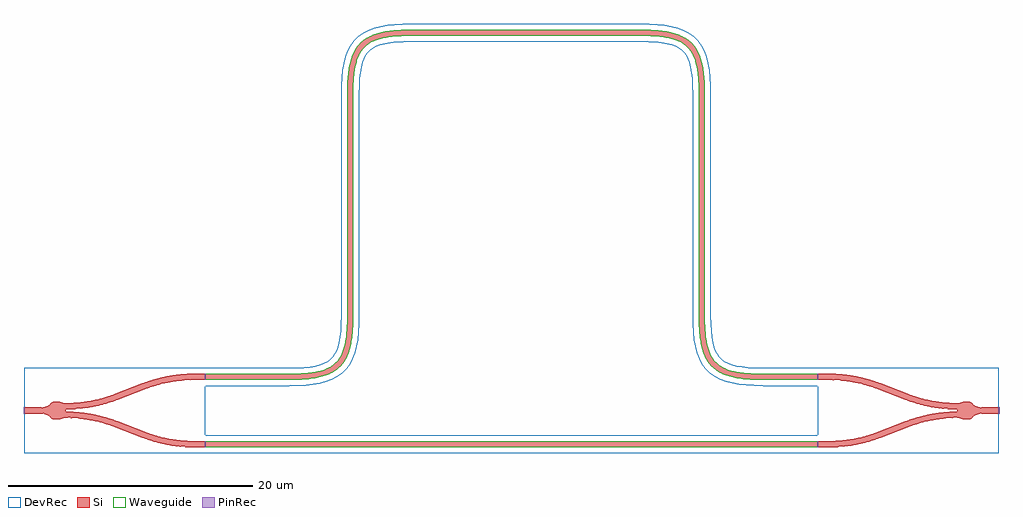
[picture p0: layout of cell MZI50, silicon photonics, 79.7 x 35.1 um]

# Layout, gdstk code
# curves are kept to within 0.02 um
from math import pi, radians
import gdstk
lib = gdstk.Library(unit=1e-6, precision=1e-09)
def R(c, l, rs):  # rectangles x0, y0, x1, y1
    for r in rs: c.add(gdstk.rectangle(r[:2], r[2:], *l))
def P(c, l, *ps):  # polygons
    for p in ps: c.add(gdstk.Polygon(p, *l))
Si = (1, 0)
PinRec = (1, 10)
Waveguide = (1, 99)
DevRec = (68, 0)

waveguide = lib.new_cell('Waveguide')
R(waveguide, Si, [(8.91,-1.04,58.91,-0.54)])
R(waveguide, Waveguide, [(8.91,-1.04,58.91,-0.54)])
R(waveguide, DevRec, [(8.91,-1.54,58.91,-0.04)])
waveguide.add(gdstk.FlexPath([(8.92,-0.79),(8.9,-0.79)], 0.5, ends="flush", simple_path=True, layer=1, datatype=10))  # PinRec
waveguide.add(gdstk.FlexPath([(58.9,-0.79),(58.92,-0.79)], 0.5, ends="flush", simple_path=True, layer=1, datatype=10))  # PinRec
waveguide.add(gdstk.Label('opt1', (8.91,-0.79), layer=1, texttype=10))
waveguide.add(gdstk.Label('opt2', (58.91,-0.79), layer=1, texttype=10))
waveguide.add(gdstk.Label('Lumerical_INTERCONNECT_library=Design kits/EBeam', (8.91,-0.89), layer=68, texttype=0))
waveguide.add(gdstk.Label('Component=ebeam_wg_integral_1550', (8.91,-0.69), layer=68, texttype=0))
waveguide.add(gdstk.Label('cellName=Waveguide', (8.91,-0.59), layer=68, texttype=0))
waveguide.add(gdstk.Label('Spice_param:wg_length=0.000050000 wg_width=5e-07 points="[[8.91,-0.79],[58.91,-0.79]]" radius=5e-06', (8.91,-0.79), layer=68, texttype=0))
waveguide.add(gdstk.Label('Length=50.000 (microns)', (8.91,-1.39), layer=68, texttype=0))
waveguide.add(gdstk.Label('waveguide_type=Strip TE 1550 nm, w=500 nm', (8.91,-0.99), layer=68, texttype=0))

ebeam_y_1550 = lib.new_cell('ebeam_y_1550')
R(ebeam_y_1550, Si, [(6.5,-3,7.4,-2.5), (-7.4,-0.25,-6,0.25), (6.5,2.5,7.4,3)])
P(ebeam_y_1550, Si, [(6.458,-3),(6.237,-2.997),(6.237,-2.497),(6.5,-2.5),(6.5,-3)],
  [(5.033,-2.908),(4.288,-2.79),(3.59,-2.634),(2.922,-2.442),(2.265,-2.21),(2.445,-1.744),(3.075,-1.966),(3.731,-2.154),(5.033,-2.404)],
  [(6.233,-2.997),(5.033,-2.908),(5.033,-2.404),(6.237,-2.497)],
  [(2.265,-2.21),(0.055,-1.356),(0.235,-0.89),(2.445,-1.744)],
  [(-0.762,-1.076),(-1.532,-0.874),(-2.334,-0.724),(-3.178,-0.63),(-4,-0.6),(-4,-0.1),(-3.16,-0.13),(-2.381,-0.212),(-1.565,-0.355),(-0.762,-0.555)],
  [(0.055,-1.356),(-0.762,-1.076),(-0.762,-0.555),(0.235,-0.89)],
  [(6.237,2.497),(6.237,2.997),(6.5,3),(6.5,2.5)],
  [(2.445,1.744),(2.267,2.211),(2.922,2.442),(3.59,2.634),(4.288,2.79),(5.033,2.908),(5.033,2.404),(3.731,2.154),(3.075,1.966)],
  [(5.033,2.404),(5.033,2.908),(6.237,2.997),(6.237,2.497)],
  [(0.235,0.89),(0.055,1.356),(2.265,2.21),(2.445,1.744)],
  [(-4,0.1),(-4,0.6),(-3.178,0.63),(-2.334,0.724),(-1.532,0.874),(-0.762,1.076),(-0.762,0.555),(-1.565,0.355),(-2.381,0.212),(-3.16,0.13)],
  [(-0.762,0.555),(-0.762,1.076),(0.055,1.356),(0.235,0.89)],
  [(-5.122,-0.662),(-5.442,-0.374),(-5.808,-0.255),(-6,-0.25),(-6,0.25),(-5.817,0.253),(-5.442,0.374),(-5.122,0.662)],
  [(-4.957,-0.703),(-5.122,-0.662),(-5.122,0.662),(-4.978,0.702),(-4.538,0.703),(-4.167,0.6),(-4,0.6),(-4,-0.6),(-4.167,-0.6),(-4.509,-0.701)])
R(ebeam_y_1550, DevRec, [(-7.4,-3.5,7.4,3.5)])
ebeam_y_1550.add(gdstk.FlexPath([(-7.35,0),(-7.45,0)], 0.5, ends="flush", simple_path=True, layer=1, datatype=10))  # PinRec
ebeam_y_1550.add(gdstk.FlexPath([(7.35,2.75),(7.45,2.75)], 0.5, ends="flush", simple_path=True, layer=1, datatype=10))  # PinRec
ebeam_y_1550.add(gdstk.FlexPath([(7.35,-2.75),(7.45,-2.75)], 0.5, ends="flush", simple_path=True, layer=1, datatype=10))  # PinRec
ebeam_y_1550.add(gdstk.Label('Ref: Y Zhang, Opt. Express, 21/1, 2013', (-7.5,-1), layer=10, texttype=0))
ebeam_y_1550.add(gdstk.Label('opt2', (7.4,2.75), layer=1, texttype=10))
ebeam_y_1550.add(gdstk.Label('opt3', (7.4,-2.75), layer=1, texttype=10))
ebeam_y_1550.add(gdstk.Label('opt1', (-7.4,0), layer=1, texttype=10))
ebeam_y_1550.add(gdstk.Label('Component=ebeam_y_1550', (-6,1.5), layer=68, texttype=0))
ebeam_y_1550.add(gdstk.Label('Lumerical_INTERCONNECT_library=Design kits/ebeam', (-6.86,-2.19), layer=68, texttype=0))

waveguide_10 = lib.new_cell('Waveguide$10')
P(waveguide_10, Si, [(8.91,4.46),(8.91,4.96),(16.167,4.964),(16.946,4.998),(17.784,5.097),(18.604,5.304),(19.14,5.557),(19.407,5.744),(19.636,5.963),(19.949,6.406),(20.145,6.845),(20.324,7.513),(20.436,8.324),(20.48,9.078),(20.491,28.031),(20.545,29.241),(20.697,30.259),(20.915,30.977),(21.23,31.581),(21.563,31.987),(22.079,32.39),(22.707,32.685),(23.447,32.884),(24.308,33.004),(25.517,33.058),(45.097,33.051),(46.24,32.966),(47.053,32.816),(47.482,32.686),(47.872,32.521),(48.433,32.162),(48.716,31.893),(48.959,31.582),(49.16,31.233),(49.325,30.843),(49.455,30.414),(49.554,29.941),(49.672,28.86),(49.7,27.81),(49.704,9.283),(49.738,8.504),(49.812,7.821),(49.928,7.231),(50.089,6.729),(50.24,6.407),(50.419,6.128),(50.627,5.887),(50.867,5.68),(51.146,5.501),(51.468,5.35),(52.253,5.126),(53.064,5.014),(53.818,4.97),(58.91,4.96),(58.91,4.46),(54.012,4.465),(53.018,4.516),(52.319,4.606),(51.846,4.705),(51.282,4.886),(50.906,5.063),(50.569,5.278),(50.273,5.533),(50.017,5.83),(49.802,6.167),(49.625,6.543),(49.444,7.107),(49.318,7.747),(49.24,8.468),(49.204,9.273),(49.2,27.81),(49.161,29.017),(49.034,30.007),(48.855,30.675),(48.712,31.011),(48.543,31.304),(48.346,31.557),(48.117,31.776),(47.85,31.963),(47.543,32.124),(46.929,32.332),(46.178,32.47),(45.081,32.551),(25.523,32.558),(24.533,32.521),(23.695,32.422),(22.998,32.256),(22.436,32.019),(21.993,31.706),(21.646,31.303),(21.477,31.01),(21.334,30.674),(21.155,30.006),(21.028,29.016),(20.991,28.027),(20.98,9.062),(20.916,8.096),(20.782,7.26),(20.564,6.542),(20.32,6.049),(19.917,5.533),(19.62,5.277),(19.283,5.062),(18.633,4.787),(17.703,4.578),(16.789,4.487),(15.961,4.461)])
P(waveguide_10, Waveguide, [(8.91,4.46),(8.91,4.96),(16.167,4.964),(16.946,4.998),(17.784,5.097),(18.604,5.304),(19.14,5.557),(19.407,5.744),(19.636,5.963),(19.949,6.406),(20.145,6.845),(20.324,7.513),(20.436,8.324),(20.48,9.078),(20.491,28.031),(20.545,29.241),(20.697,30.259),(20.915,30.977),(21.23,31.581),(21.563,31.987),(22.079,32.39),(22.707,32.685),(23.447,32.884),(24.308,33.004),(25.517,33.058),(45.097,33.051),(46.24,32.966),(47.053,32.816),(47.482,32.686),(47.872,32.521),(48.433,32.162),(48.716,31.893),(48.959,31.582),(49.16,31.233),(49.325,30.843),(49.455,30.414),(49.554,29.941),(49.672,28.86),(49.7,27.81),(49.704,9.283),(49.738,8.504),(49.812,7.821),(49.928,7.231),(50.089,6.729),(50.24,6.407),(50.419,6.128),(50.627,5.887),(50.867,5.68),(51.146,5.501),(51.468,5.35),(52.253,5.126),(53.064,5.014),(53.818,4.97),(58.91,4.96),(58.91,4.46),(54.012,4.465),(53.018,4.516),(52.319,4.606),(51.846,4.705),(51.282,4.886),(50.906,5.063),(50.569,5.278),(50.273,5.533),(50.017,5.83),(49.802,6.167),(49.625,6.543),(49.444,7.107),(49.318,7.747),(49.24,8.468),(49.204,9.273),(49.2,27.81),(49.161,29.017),(49.034,30.007),(48.855,30.675),(48.712,31.011),(48.543,31.304),(48.346,31.557),(48.117,31.776),(47.85,31.963),(47.543,32.124),(46.929,32.332),(46.178,32.47),(45.081,32.551),(25.523,32.558),(24.533,32.521),(23.695,32.422),(22.998,32.256),(22.436,32.019),(21.993,31.706),(21.646,31.303),(21.477,31.01),(21.334,30.674),(21.155,30.006),(21.028,29.016),(20.991,28.027),(20.98,9.062),(20.916,8.096),(20.782,7.26),(20.564,6.542),(20.32,6.049),(19.917,5.533),(19.62,5.277),(19.283,5.062),(18.633,4.787),(17.703,4.578),(16.789,4.487),(15.961,4.461)])
P(waveguide_10, DevRec, [(8.91,3.96),(8.91,5.46),(15.739,5.46),(16.97,5.502),(17.933,5.635),(18.635,5.855),(19.115,6.152),(19.297,6.334),(19.454,6.551),(19.594,6.814),(19.714,7.134),(19.814,7.516),(19.947,8.479),(19.979,9.06),(19.99,27.81),(20.036,29.16),(20.199,30.319),(20.335,30.837),(20.517,31.319),(20.751,31.76),(21.042,32.159),(21.39,32.507),(21.789,32.798),(22.23,33.032),(22.712,33.214),(23.23,33.35),(23.787,33.448),(25.038,33.549),(45.151,33.55),(46.402,33.449),(46.959,33.351),(47.477,33.215),(47.959,33.033),(48.4,32.799),(48.799,32.508),(49.147,32.16),(49.438,31.761),(49.672,31.32),(49.854,30.838),(49.99,30.32),(50.153,29.161),(50.2,27.81),(50.2,9.71),(50.242,8.48),(50.297,7.966),(50.475,7.135),(50.595,6.815),(50.735,6.552),(50.892,6.335),(51.074,6.153),(51.554,5.856),(52.256,5.636),(53.219,5.503),(53.8,5.471),(58.91,5.46),(58.91,3.96),(54.448,3.96),(53.099,4.007),(51.94,4.17),(51.422,4.306),(50.94,4.488),(50.499,4.722),(50.1,5.013),(49.752,5.361),(49.461,5.76),(49.227,6.201),(49.045,6.683),(48.909,7.201),(48.811,7.758),(48.71,9.009),(48.7,27.81),(48.657,29.041),(48.602,29.555),(48.424,30.386),(48.304,30.706),(48.164,30.969),(48.007,31.186),(47.825,31.368),(47.345,31.665),(46.643,31.885),(45.68,32.018),(45.099,32.05),(25.09,32.049),(24.509,32.017),(23.546,31.884),(23.164,31.784),(22.844,31.664),(22.581,31.524),(22.364,31.367),(22.182,31.185),(21.885,30.705),(21.665,30.003),(21.587,29.554),(21.532,29.04),(21.49,27.81),(21.479,9.008),(21.378,7.757),(21.28,7.2),(21.144,6.682),(20.962,6.2),(20.728,5.759),(20.437,5.36),(20.089,5.012),(19.69,4.721),(19.249,4.487),(18.767,4.305),(18.249,4.169),(17.692,4.071),(17.09,4.006),(15.741,3.96)])
waveguide_10.add(gdstk.FlexPath([(8.92,4.71),(8.9,4.71)], 0.5, ends="flush", simple_path=True, layer=1, datatype=10))  # PinRec
waveguide_10.add(gdstk.FlexPath([(58.9,4.71),(58.92,4.71)], 0.5, ends="flush", simple_path=True, layer=1, datatype=10))  # PinRec
waveguide_10.add(gdstk.Label('opt1', (8.91,4.71), layer=1, texttype=10))
waveguide_10.add(gdstk.Label('opt2', (58.91,4.71), layer=1, texttype=10))
waveguide_10.add(gdstk.Label('Lumerical_INTERCONNECT_library=Design kits/EBeam', (8.91,4.61), layer=68, texttype=0))
waveguide_10.add(gdstk.Label('Component=ebeam_wg_integral_1550', (8.91,4.81), layer=68, texttype=0))
waveguide_10.add(gdstk.Label('cellName=Waveguide', (8.91,4.91), layer=68, texttype=0))
waveguide_10.add(gdstk.Label('Spice_param:wg_length=0.000099993 wg_width=5e-07 points="[[8.91,4.71],[20.74,4.71],[20.74,32.81],[49.45,32.81],[49.45,4.71],[58.91,4.71]]" radius=5e-06', (8.91,4.71), layer=68, texttype=0))
waveguide_10.add(gdstk.Label('Length=99.993 (microns)', (8.91,4.11), layer=68, texttype=0))
waveguide_10.add(gdstk.Label('waveguide_type=Strip TE 1550 nm, w=500 nm', (8.91,4.51), layer=68, texttype=0))

mzi50 = lib.new_cell('MZI50')
mzi50.add(gdstk.Reference(waveguide, (5.99,1.54)))
mzi50.add(gdstk.Reference(ebeam_y_1550, (72.3,3.5), rotation=pi))
mzi50.add(gdstk.Reference(waveguide_10, (5.99,1.54)))
mzi50.add(gdstk.Reference(ebeam_y_1550, (7.5,3.5)))

lib.write_gds('MZI50.gds')
